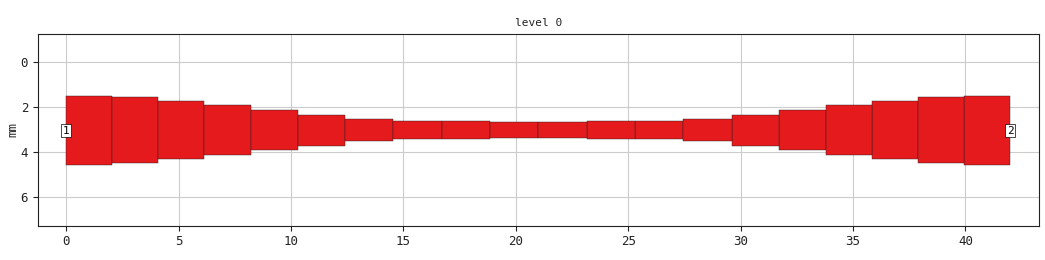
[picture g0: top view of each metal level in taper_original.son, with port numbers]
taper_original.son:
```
FTYP SONPROJ 19 ! Sonnet Project File
VER 18.53
HEADER
LIC SL68ddf9c7
DAT 12/16/2025 23:11:32
BUILT_BY_CREATED xgeom 18.53-Lite 11/30/2025 18:08:39
BUILT_BY_SAVED sonnet 18.53-Lite
MDATE 12/02/2025 23:07:47
HDATE 12/02/2025 23:07:47
END HEADER
DIM
ANG DEG
CAP PF
CON /OH
FREQ GHZ
IND NH
LNG MM
RES OH
END DIM
CONTROL
VARSWP
OPTIONS  -d
SPEED 0
CACHE_ABS 2
Q_ACC N
END CONTROL
GEO
SYM
TMET "Lossless" 0 SUP 0 0 0 0
BMET "Lossless" 0 SUP 0 0 0 0
BOX 1 42 6 1680 240 20 0
      30 1 1 0 0 0 0 "Substrate"
      1.6 4.4 1 0.02 0 0 0 "FR-4"
TECHLAY METAL Metal1 <UNSPECIFIED> -2 -65534 
1 0 -1 N 440 1 1 100 100 0 0 0 Y
END
END
LORGN 0 6 U 
POR1 BOX
POLY 315 1
3
1 50 0 0 0 -4.440892099e-16 3.025 
POR1 BOX
POLY 421 1
3
2 50 0 0 0 42 3.025 
NUM 20
0 5 -1 N 315 1 1 100 100 0 0 0 Y
-4.440892099e-16 1.5
2.05 1.5
2.05 4.55
-4.440892099e-16 4.55
-4.440892099e-16 1.5
END
0 5 -1 N 316 1 1 100 100 0 0 0 Y
2.05 1.55
4.1 1.55
4.1 4.45
2.05 4.45
2.05 1.55
END
0 5 -1 N 317 1 1 100 100 0 0 0 Y
4.1 1.7
6.15 1.7
6.15 4.3
4.1 4.3
4.1 1.7
END
0 5 -1 N 318 1 1 100 100 0 0 0 Y
6.15 1.9
8.2 1.9
8.2 4.1
6.15 4.1
6.15 1.9
END
0 5 -1 N 319 1 1 100 100 0 0 0 Y
8.2 2.1
10.3 2.1
10.3 3.9
8.2 3.9
8.2 2.1
END
0 5 -1 N 320 1 1 100 100 0 0 0 Y
10.3 2.35
12.4 2.35
12.4 3.7
10.3 3.7
10.3 2.35
END
0 5 -1 N 321 1 1 100 100 0 0 0 Y
12.4 2.5
14.55 2.5
14.55 3.5
12.4 3.5
12.4 2.5
END
0 5 -1 N 322 1 1 100 100 0 0 0 Y
14.55 2.6
16.7 2.6
16.7 3.4
14.55 3.4
14.55 2.6
END
0 5 -1 N 323 1 1 100 100 0 0 0 Y
16.7 2.6
18.85 2.6
18.85 3.4
16.7 3.4
16.7 2.6
END
0 5 -1 N 324 1 1 100 100 0 0 0 Y
18.85 2.65
21 2.65
21 3.35
18.85 3.35
18.85 2.65
END
0 5 -1 N 419 1 1 100 100 0 0 0 Y
33.8 2.1
31.7 2.1
31.7 3.9
33.8 3.9
33.8 2.1
END
0 5 -1 N 420 1 1 100 100 0 0 0 Y
27.45 2.6
25.3 2.6
25.3 3.4
27.45 3.4
27.45 2.6
END
0 5 -1 N 421 1 1 100 100 0 0 0 Y
42 1.5
39.95 1.5
39.95 4.55
42 4.55
42 1.5
END
0 5 -1 N 422 1 1 100 100 0 0 0 Y
31.7 2.35
29.6 2.35
29.6 3.7
31.7 3.7
31.7 2.35
END
0 5 -1 N 423 1 1 100 100 0 0 0 Y
25.3 2.6
23.15 2.6
23.15 3.4
25.3 3.4
25.3 2.6
END
0 5 -1 N 424 1 1 100 100 0 0 0 Y
37.9 1.7
35.85 1.7
35.85 4.3
37.9 4.3
37.9 1.7
END
0 5 -1 N 425 1 1 100 100 0 0 0 Y
39.95 1.55
37.9 1.55
37.9 4.45
39.95 4.45
39.95 1.55
END
0 5 -1 N 426 1 1 100 100 0 0 0 Y
23.15 2.65
21 2.65
21 3.35
23.15 3.35
23.15 2.65
END
0 5 -1 N 427 1 1 100 100 0 0 0 Y
29.6 2.5
27.45 2.5
27.45 3.5
29.6 3.5
29.6 2.5
END
0 5 -1 N 428 1 1 100 100 0 0 0 Y
35.85 1.9
33.8 1.9
33.8 4.1
35.85 4.1
35.85 1.9
END
END GEO
OPT
MAX 100
END OPT
VARSWP
ENABLED Y
FREQ Y AN SWEEP 0.0 12.0 0.2
END
END VARSWP
```
